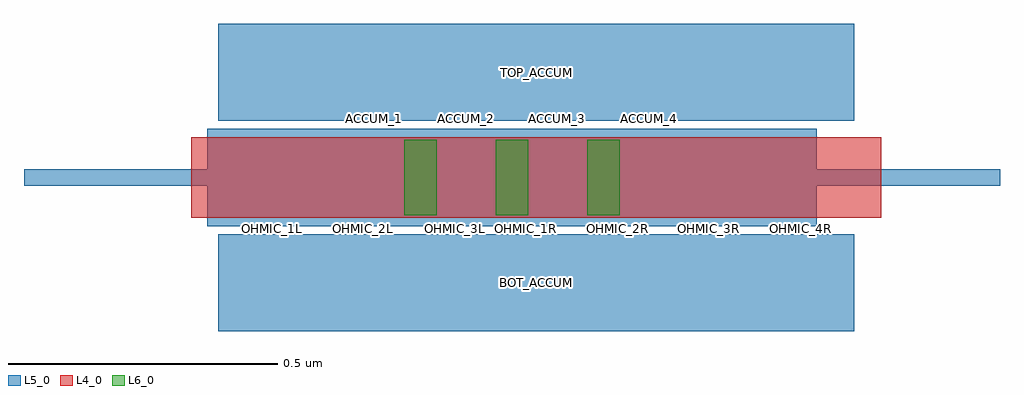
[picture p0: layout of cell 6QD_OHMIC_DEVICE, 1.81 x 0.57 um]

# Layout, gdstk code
import gdstk
lib = gdstk.Library(unit=1e-6, precision=1e-09)
def R(c, l, rs):  # rectangles x0, y0, x1, y1
    for r in rs: c.add(gdstk.rectangle(r[:2], r[2:], *l))
def A(c, l, x, y, w, h, nx, ny, dx, dy):  # array of equal rectangles
    R(c, l, [(x+i*dx, y+j*dy, x+i*dx+w, y+j*dy+h) for i in range(nx) for j in range(ny)])
L4_0 = (4, 0)
L5_0 = (5, 0)
L6_0 = (6, 0)

c_6qd_ohmic_device = lib.new_cell('6QD_OHMIC_DEVICE')
A(c_6qd_ohmic_device, L4_0, -0.64, -0.075, 0.3, 0.15, 3, 1, 0.17, 0)
R(c_6qd_ohmic_device, L4_0, [(-0.17,-0.075,0.13,0.075), (-0.13,-0.075,0.17,0.075), (0,-0.075,0.3,0.075), (0.04,-0.075,0.34,0.075), (0.17,-0.075,0.47,0.075), (0.34,-0.075,0.64,0.075)])
A(c_6qd_ohmic_device, L5_0, -0.61, -0.09, 0.25, 0.18, 3, 1, 0.17, 0)
A(c_6qd_ohmic_device, L5_0, -0.36, -0.09, 0.12, 0.18, 4, 1, 0.17, 0)
A(c_6qd_ohmic_device, L5_0, -0.07, -0.09, 0.25, 0.18, 3, 1, 0.17, 0)
A(c_6qd_ohmic_device, L5_0, -0.95, -0.015, 0.4, 0.03, 4, 1, 0.17, 0)
A(c_6qd_ohmic_device, L5_0, -0.05, -0.015, 0.4, 0.03, 4, 1, 0.17, 0)
R(c_6qd_ohmic_device, L5_0, [(-0.59,-0.285,0.59,-0.105), (-0.24,-0.09,0.01,0.09), (-0.1,-0.09,0.15,0.09), (-0.59,0.105,0.59,0.285)])
A(c_6qd_ohmic_device, L6_0, -0.245, -0.07, 0.06, 0.14, 3, 1, 0.17, 0)
c_6qd_ohmic_device.add(gdstk.Label('OHMIC_1L', (-0.49,-0.095), layer=100, texttype=0))
c_6qd_ohmic_device.add(gdstk.Label('OHMIC_1R', (-0.02,-0.095), layer=100, texttype=0))
c_6qd_ohmic_device.add(gdstk.Label('OHMIC_2L', (-0.32,-0.095), layer=100, texttype=0))
c_6qd_ohmic_device.add(gdstk.Label('OHMIC_2R', (0.15,-0.095), layer=100, texttype=0))
c_6qd_ohmic_device.add(gdstk.Label('OHMIC_3L', (-0.15,-0.095), layer=100, texttype=0))
c_6qd_ohmic_device.add(gdstk.Label('OHMIC_3R', (0.32,-0.095), layer=100, texttype=0))
c_6qd_ohmic_device.add(gdstk.Label('OHMIC_4L', (0.02,-0.095), layer=100, texttype=0))
c_6qd_ohmic_device.add(gdstk.Label('OHMIC_4R', (0.49,-0.095), layer=100, texttype=0))
c_6qd_ohmic_device.add(gdstk.Label('OHMIC_5L', (0.19,-0.095), layer=100, texttype=0))
c_6qd_ohmic_device.add(gdstk.Label('ACCUM_1', (-0.3,0.11), layer=100, texttype=0))
c_6qd_ohmic_device.add(gdstk.Label('ACCUM_2', (-0.13,0.11), layer=100, texttype=0))
c_6qd_ohmic_device.add(gdstk.Label('ACCUM_3', (0.04,0.11), layer=100, texttype=0))
c_6qd_ohmic_device.add(gdstk.Label('ACCUM_4', (0.21,0.11), layer=100, texttype=0))
c_6qd_ohmic_device.add(gdstk.Label('TOP_ACCUM', (0,0.195), layer=100, texttype=0))
c_6qd_ohmic_device.add(gdstk.Label('BOT_ACCUM', (0,-0.195), layer=100, texttype=0))
c_6qd_ohmic_device.add(gdstk.Label('SCREEN_1', (-0.215,0.09), layer=100, texttype=0))
c_6qd_ohmic_device.add(gdstk.Label('SCREEN_2', (-0.045,0.09), layer=100, texttype=0))
c_6qd_ohmic_device.add(gdstk.Label('SCREEN_3', (0.125,0.09), layer=100, texttype=0))

lib.write_gds('6QD_OHMIC_DEVICE.gds')
